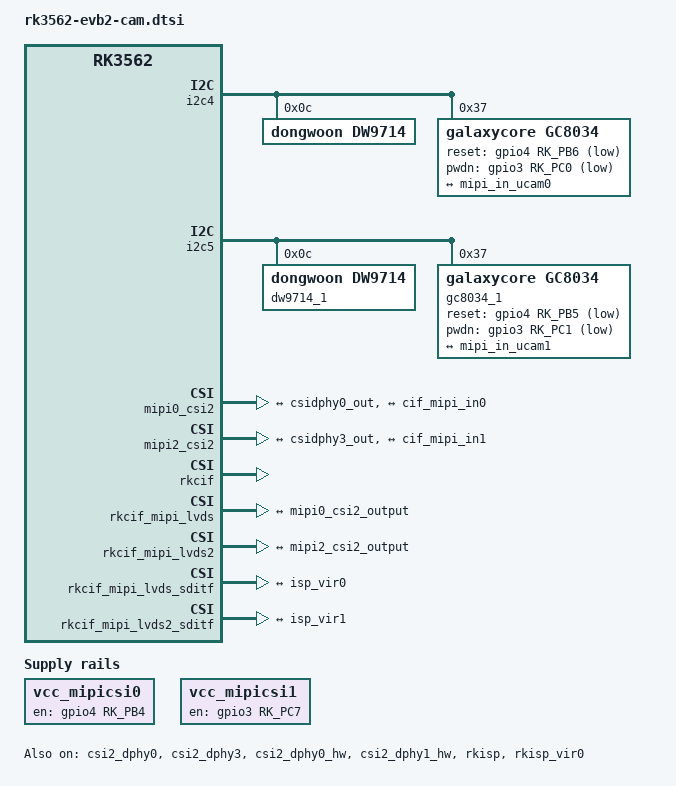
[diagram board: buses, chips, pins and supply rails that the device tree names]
// SPDX-License-Identifier: (GPL-2.0+ OR MIT)
/*
 * Copyright (c) 2023 Rockchip Electronics Co., Ltd.
 *
 */

/ {
	vcc_mipicsi0: vcc-mipicsi0-regulator {
		compatible = "regulator-fixed";
		gpio = <&gpio4 RK_PB4 GPIO_ACTIVE_HIGH>;
		pinctrl-names = "default";
		pinctrl-0 = <&mipicsi0_pwr>;
		regulator-name = "vcc_mipicsi0";
		enable-active-high;
		regulator-always-on;
		regulator-boot-on;
	};

	vcc_mipicsi1: vcc-mipicsi1-regulator {
		compatible = "regulator-fixed";
		gpio = <&gpio3 RK_PC7 GPIO_ACTIVE_HIGH>;
		pinctrl-names = "default";
		pinctrl-0 = <&mipicsi1_pwr>;
		regulator-name = "vcc_mipicsi1";
		enable-active-high;
		regulator-always-on;
		regulator-boot-on;
	};
};

&csi2_dphy0 {
	status = "okay";

	ports {
		#address-cells = <1>;
		#size-cells = <0>;
		port@0 {
			reg = <0>;
			#address-cells = <1>;
			#size-cells = <0>;

			mipi_in_ucam0: endpoint@1 {
				reg = <1>;
				remote-endpoint = <&gc8034_out0>;
				data-lanes = <1 2 3 4>;
			};
		};
		port@1 {
			reg = <1>;
			#address-cells = <1>;
			#size-cells = <0>;

			csidphy0_out: endpoint@0 {
				reg = <0>;
				remote-endpoint = <&mipi0_csi2_input>;
			};
		};
	};
};

&csi2_dphy3 {
	status = "okay";

	ports {
		#address-cells = <1>;
		#size-cells = <0>;
		port@0 {
			reg = <0>;
			#address-cells = <1>;
			#size-cells = <0>;

			mipi_in_ucam1: endpoint@1 {
				reg = <1>;
				remote-endpoint = <&gc8034_out1>;
				data-lanes = <1 2 3 4>;
			};
		};
		port@1 {
			reg = <1>;
			#address-cells = <1>;
			#size-cells = <0>;

			csidphy3_out: endpoint@0 {
				reg = <0>;
				remote-endpoint = <&mipi2_csi2_input>;
			};
		};
	};
};

&i2c4 {
	status = "okay";

	dw9714: dw9714@c {
		compatible = "dongwoon,dw9714";
		status = "okay";
		reg = <0x0c>;
		rockchip,vcm-start-current = <10>;
		rockchip,vcm-rated-current = <85>;
		rockchip,vcm-step-mode = <5>;
		rockchip,camera-module-index = <0>;
		rockchip,camera-module-facing = "back";
	};

	gc8034: gc8034@37 {
		compatible = "galaxycore,gc8034";
		reg = <0x37>;
		clocks = <&cru CLK_CAM0_OUT2IO>;
		clock-names = "xvclk";
		pinctrl-names = "default";
		pinctrl-0 = <&camm0_clk0_out>;
		reset-gpios = <&gpio4 RK_PB6 GPIO_ACTIVE_LOW>;
		pwdn-gpios = <&gpio3 RK_PC0 GPIO_ACTIVE_LOW>;
		// dvdd-supply = <&vcc_mipicsi0>;
		rockchip,camera-module-index = <0>;
		rockchip,camera-module-facing = "back";
		rockchip,camera-module-name = "RK-CMK-8M-2-v1";
		rockchip,camera-module-lens-name = "CK8401";
		lens-focus = <&dw9714>;
		port {
			gc8034_out0: endpoint {
				remote-endpoint = <&mipi_in_ucam0>;
				data-lanes = <1 2 3 4>;
			};
		};
	};
};

&i2c5 {
	status = "okay";

	dw9714_1: dw9714_1@c {
		compatible = "dongwoon,dw9714";
		status = "okay";
		reg = <0x0c>;
		rockchip,vcm-start-current = <10>;
		rockchip,vcm-rated-current = <85>;
		rockchip,vcm-step-mode = <5>;
		rockchip,camera-module-index = <1>;
		rockchip,camera-module-facing = "front";
	};

	gc8034_1: gc8034_1@37 {
		compatible = "galaxycore,gc8034";
		reg = <0x37>;
		clocks = <&cru CLK_CAM2_OUT2IO>;
		clock-names = "xvclk";
		pinctrl-names = "default";
		pinctrl-0 = <&cam_clk2_out>;
		reset-gpios = <&gpio4 RK_PB5 GPIO_ACTIVE_LOW>;
		pwdn-gpios = <&gpio3 RK_PC1 GPIO_ACTIVE_LOW>;
		// dvdd-supply = <&vcc_mipicsi1>;
		rockchip,camera-module-index = <1>;
		rockchip,camera-module-facing = "front";
		rockchip,camera-module-name = "RK-CMK-8M-2-v1";
		rockchip,camera-module-lens-name = "CK8401";
		lens-focus = <&dw9714_1>;
		port {
			gc8034_out1: endpoint {
				remote-endpoint = <&mipi_in_ucam1>;
				data-lanes = <1 2 3 4>;
			};
		};
	};
};

&csi2_dphy0_hw {
	status = "okay";
};

&csi2_dphy1_hw {
	status = "okay";
};

&mipi0_csi2 {
	status = "okay";

	ports {
		#address-cells = <1>;
		#size-cells = <0>;

		port@0 {
			reg = <0>;
			#address-cells = <1>;
			#size-cells = <0>;

			mipi0_csi2_input: endpoint@1 {
				reg = <1>;
				remote-endpoint = <&csidphy0_out>;
			};
		};

		port@1 {
			reg = <1>;
			#address-cells = <1>;
			#size-cells = <0>;

			mipi0_csi2_output: endpoint@0 {
				reg = <0>;
				remote-endpoint = <&cif_mipi_in0>;
			};
		};
	};
};

&mipi2_csi2 {
	status = "okay";

	ports {
		#address-cells = <1>;
		#size-cells = <0>;

		port@0 {
			reg = <0>;
			#address-cells = <1>;
			#size-cells = <0>;

			mipi2_csi2_input: endpoint@1 {
				reg = <1>;
				remote-endpoint = <&csidphy3_out>;
			};
		};

		port@1 {
			reg = <1>;
			#address-cells = <1>;
			#size-cells = <0>;

			mipi2_csi2_output: endpoint@0 {
				reg = <0>;
				remote-endpoint = <&cif_mipi_in1>;
			};
		};
	};
};

&rkcif {
	status = "okay";
};

&rkcif_mipi_lvds {
	status = "okay";

	port {
		cif_mipi_in0: endpoint {
			remote-endpoint = <&mipi0_csi2_output>;
		};
	};
};

&rkcif_mipi_lvds2 {
	status = "okay";

	port {
		cif_mipi_in1: endpoint {
			remote-endpoint = <&mipi2_csi2_output>;
		};
	};
};

&rkcif_mipi_lvds_sditf {
	status = "okay";

	port {
		mipi_lvds_sditf: endpoint {
			remote-endpoint = <&isp_vir0>;
		};
	};
};

&rkcif_mipi_lvds2_sditf {
	status = "okay";

	port {
		mipi_lvds2_sditf: endpoint {
			remote-endpoint = <&isp_vir1>;
		};
	};
};

&rkcif_mmu {
	status = "okay";
};

&rkisp {
	status = "okay";
};

&rkisp_mmu {
	status = "okay";
};

&rkisp_vir0 {
	status = "okay";

	port {
		#address-cells = <1>;
		#size-cells = <0>;

		isp_vir0: endpoint@0 {
			reg = <0>;
			remote-endpoint = <&mipi_lvds_sditf>;
		};
		isp_vir1: endpoint@1 {
			reg = <1>;
			remote-endpoint = <&mipi_lvds2_sditf>;
		};
	};
};

&pinctrl {
	cam {
		mipicsi0_pwr: mipicsi0-pwr {
			rockchip,pins =
				/* camera power en */
				<4 RK_PB4 RK_FUNC_GPIO &pcfg_pull_none>;
		};
		mipicsi1_pwr: mipicsi1-pwr {
			rockchip,pins =
				/* camera1 power en */
				<3 RK_PC7 RK_FUNC_GPIO &pcfg_pull_none>;
		};
	};
};

